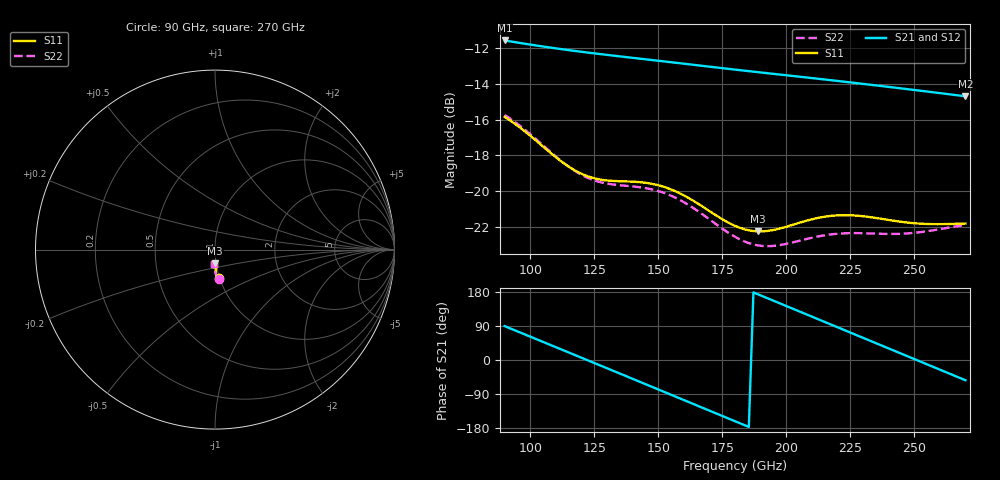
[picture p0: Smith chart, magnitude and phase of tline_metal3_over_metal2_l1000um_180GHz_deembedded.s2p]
! Created with skrf 2.0.1 (http://scikit-rf.org).
# GHz S DB R 50.0
!freq dBS11 angS11 dBS21 angS21 dBS12 angS12 dBS22 angS22
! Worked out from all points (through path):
!   101 points, 90 GHz to 270 GHz, reference 50 ohm
!   highest |S21| = -11.58 dB at 90 GHz (marker M1); lowest = -14.7 dB at 270 GHz (marker M2)
!   group delay of S21, straight-line fit = 7.76 ps
!   lowest |S11| = -22.2 dB at 189 GHz (marker M3), VSWR 1.17, Z = 49.5 - j7.69 ohm
!   |S11| at or under -10 dB: start of sweep to end of sweep
!   |S22| runs from -23.1 to -15.7 dB; largest |S21 - S12| = 3.4e-14
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90  -15.85 -81.4  -11.58 89.5  -11.58 89.5  -15.74 -81.6
97.2  -16.58 -85.2  -11.74 69.4  -11.74 69.4  -16.48 -85.6
106.2  -17.65 -87.9  -11.94 44.4  -11.94 44.4  -17.59 -88.9
113.4  -18.47 -88.2  -12.09 24.4  -12.09 24.4  -18.46 -89.6
120.6  -19.06 -87.0  -12.22 4.4  -12.22 4.4  -19.13 -88.8
127.8  -19.36 -85.8  -12.35 -15.6  -12.35 -15.6  -19.51 -87.7
135  -19.44 -85.6  -12.47 -35.7  -12.47 -35.7  -19.67 -87.5
144  -19.51 -87.5  -12.61 -60.9  -12.61 -60.9  -19.81 -89.4
151.2  -19.71 -90.1  -12.73 -81.0  -12.73 -81.0  -20.05 -92.0
163.8  -20.54 -94.2  -12.94 -116.3  -12.94 -116.3  -20.95 -96.4
172.8  -21.37 -94.7  -13.09 -141.4  -13.09 -141.4  -21.87 -97.3
180  -21.94 -93.0  -13.21 -161.5  -13.21 -161.5  -22.55 -95.8
189  -22.25 -89.3  -13.35 173.3  -13.35 173.3  -23.03 -91.9
199.8  -22.00 -86.1  -13.52 143.1  -13.52 143.1  -22.95 -87.8
210.6  -21.55 -86.5  -13.69 112.9  -13.69 112.9  -22.58 -87.1
217.8  -21.38 -88.3  -13.80 92.7  -13.80 92.7  -22.41 -88.0
225  -21.35 -90.4  -13.92 72.6  -13.92 72.6  -22.35 -89.2
232.2  -21.44 -92.2  -14.04 52.4  -14.04 52.4  -22.36 -90.3
241.2  -21.63 -93.7  -14.19 27.2  -14.19 27.2  -22.39 -91.1
248.4  -21.77 -94.3  -14.32 7.1  -14.32 7.1  -22.35 -91.4
255.6  -21.84 -94.5  -14.44 -13.1  -14.44 -13.1  -22.23 -92.0
270  -21.81 -95.6  -14.70 -53.3  -14.70 -53.3  -21.89 -94.7
